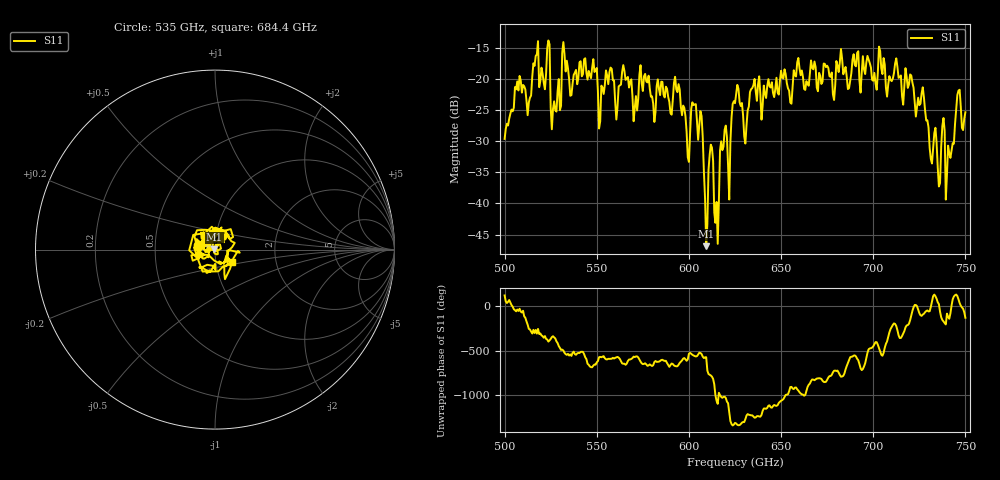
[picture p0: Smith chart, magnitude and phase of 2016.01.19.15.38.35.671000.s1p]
!Created with skrf (http://scikit-rf.org).
# GHz S RI R 50.0
!freq ReS11 ImS11
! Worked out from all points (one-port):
!   401 points, 500 GHz to 750 GHz, reference 50 ohm
!   lowest |S11| = -46.9 dB at 609.4 GHz (marker M1), VSWR 1.01, Z = 49.6 + j0.247 ohm
!   |S11| at or under -10 dB: start of sweep to end of sweep
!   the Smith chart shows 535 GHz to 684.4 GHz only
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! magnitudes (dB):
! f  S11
! 500 GHz  -29.6
! 506.9 GHz  -20.4
! 513.1 GHz  -23.8
! 516.9 GHz  -16.3
! 523.1 GHz  -15.1
! 526.9 GHz  -23.6
! 531.2 GHz  -15.8
! 562.5 GHz  -21.0
! 593.8 GHz  -22.1
! 599.4 GHz  -32.6
! 602.5 GHz  -24.2
! 606.2 GHz  -25.2
! 609.4 GHz  -46.9
! 611.9 GHz  -30.6
! 615 GHz  -39.8
! 618.1 GHz  -31.5
! 621.9 GHz  -39.4
! 625 GHz  -23.9
! 630.6 GHz  -30.4
! 634.4 GHz  -21.5
! 656.2 GHz  -21.3
! 687.5 GHz  -20.3
! 718.8 GHz  -21.5
! 735.6 GHz  -37.3
! 737.5 GHz  -27.6
! 740.6 GHz  -30.7
! 746.2 GHz  -21.9
! 750 GHz  -25.4
